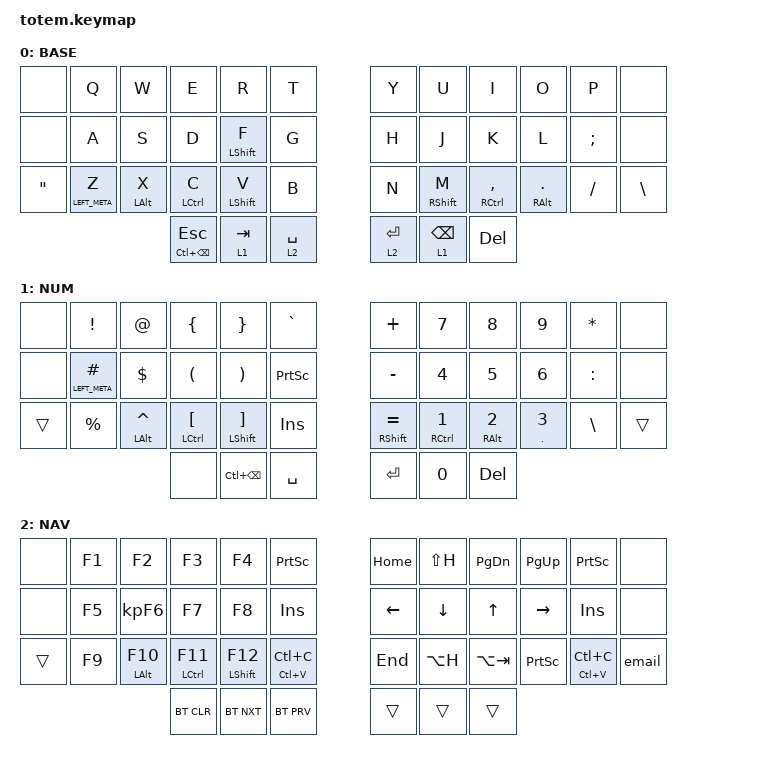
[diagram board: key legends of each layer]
//
//                                                        ▀▀▀▀▀     ▀▀▀▀▀          ▀▀█▀▀
//                                                        ▄▀▀▀▄  ▄  ▄▀▀▀▄  ▄  ▄▀▀▀▄  █  ▄▀▀▀▄
//                                                        █   █  █  █   █  █  █   █  █  █   █
//                                                         ▀▀▀   █   ▀▀▀   █   ▀▀▀   ▀   ▀▀▀
//                                                               █      ▄▄▄█▄▄▄    █   █  
//                                                               ▀      █  █  █     █▄█
//                                                             ▀▀▀▀▀    █  █  █      ▀
//                                                                      ▀  ▀  ▀
//
// ▄▄▄▄▄▄▄▄▄▄▄▄▄▄▄▄▄▄▄▄▄▄▄▄▄▄▄▄▄▄▄▄▄▄▄▄▄▄▄▄▄▄▄▄▄▄▄▄▄▄▄▄▄▄▄▄▄▄▄▄▄▄▄▄▄▄▄▄▄▄▄▄▄▄▄▄▄▄▄▄▄▄▄▄▄▄▄▄▄▄▄▄▄▄▄▄▄▄▄▄▄▄▄▄▄▄▄▄▄▄▄▄▄▄▄▄▄▄▄▄▄▄▄▄▄▄▄▄▄▄▄▄▄▄▄▄▄▄▄▄▄▄▄▄▄▄▄▄▄
       

#include <behaviors.dtsi>
#include <dt-bindings/zmk/keys.h>
#include <dt-bindings/zmk/bt.h>
#include <dt-bindings/zmk/outputs.h>

#define BASE 0
#define NAV  1
#define SYM  2
#define ADJ  3
#define TVP1 4
#define TVP2 5
#define SYM1 6
#define EXT  7
#define FNC  8
#define SETTINGS  9

&mt {
  quick-tap-ms = <100>;
  global-quick-tap;
  flavor = "tap-preferred";
  tapping-term-ms = <170>;
};

&sk {
    ignore-modifiers;
};

/ {
    behaviors {
            hm: homerow_mods {
                compatible = "zmk,behavior-hold-tap";
                label = "HOMEROW_MODS";
                bindings = <&kp>, <&kp>;

                #binding-cells = <2>;
                tapping-term-ms = <200>;
                flavor = "tap-preferred";
                require-prior-idle-ms = <125>;
                quick-tap-ms = <200>;
            };

            shifthr: shifthr {
                compatible = "zmk,behavior-hold-tap";
                label = "SHIFTHR";
                bindings = <&kp>, <&kp>;

                #binding-cells = <2>;
                tapping-term-ms = <185>;
                flavor = "tap-preferred";
                quick-tap-ms = <185>;
            };

            weak: weak {
                compatible = "zmk,behavior-hold-tap";
                label = "WEAK";
                bindings = <&kp>, <&kp>;

                #binding-cells = <2>;
                tapping-term-ms = <230>;
                flavor = "tap-preferred";
                require-prior-idle-ms = <125>;
                quick-tap-ms = <230>;
            };

            backspace: backspace {
                compatible = "zmk,behavior-tap-dance";
                label = "BACKSPACE";
                #binding-cells = <0>;
                bindings = <&kp BACKSPACE>, <&kp LC(BACKSPACE)>;
            };
        };
        
     combos {
            compatible = "zmk,combos";
            combo_esc {
                timeout-ms = <50>;
                key-positions = <0 1>;
                bindings = <&kp ESC>;
            };
            combo_lpar {
                timeout-ms = <50>;
                key-positions = <2 3>;
                bindings = <&kp LPAR>;
            };           
            combo_rpar {
                timeout-ms = <50>;
                key-positions = <3 4>;
                bindings = <&kp RPAR>;
            };           
            combo_lbkt {
                timeout-ms = <50>;
                key-positions = <12 13>;
                bindings = <&kp LBKT>;
            };
            combo_rbkt {
                timeout-ms = <50>;
                key-positions = <13 14>;
                bindings = <&kp RBKT>;
            };
            combo_lbrc {
                timeout-ms = <50>;
                key-positions = <22 23>;
                bindings = <&kp LBRC>;
            };
            combo_rbrc {
                timeout-ms = <50>;
                key-positions = <23 24>;
                bindings = <&kp RBRC>;
            };
            combo_bspc {
		        timeout-ms = <50>;
		        key-positions = <8 9>;
		        bindings = <&kp BSPC>;
	        };
        };

    macros {
        save: save {
            compatible = "zmk,behavior-macro";
            #binding-cells = <0>;
            bindings = <&macro_tap>, <&kp ESCAPE &kp COLON &kp W &kp ENTER>;

            label = "SAVE";
        };

        email: email {
            compatible = "zmk,behavior-macro";
            #binding-cells = <0>;
            bindings = <&none &kp z &kp h &kp a &kp n &kp g &kp z &kp q &kp 7 &kp 1 &kp AT &kp h &kp o &kp t &kp m &kp a &kp i &kp l &kp DOT &kp C &kp O &kp M>;
            label = "EMAIL";
        };

        gif: gif {
            label = "giphy";
            compatible = "zmk,behavior-macro";
            #binding-cells = <0>;
            bindings
                = <&macro_press &kp LSHFT>
                , <&macro_tap &kp N2>
                , <&macro_release &kp LSHFT>
                , <&macro_tap &kp G &kp I &kp F>
                ;
        };
    };

        keymap {
                compatible = "zmk,keymap";

                base_layer {
                    label= "BASE";
                    bindings = <
&none   &kp Q              &kp W             &kp E                     &kp R                  &kp T        &kp Y        &kp U              &kp I                &kp O               &kp P                &none
&none   &kp A              &kp S             &kp D                     &shifthr LEFT_SHIFT F  &kp G        &kp H        &kp J              &kp K                &kp L               &kp SEMICOLON        &none
&kp DQT &weak LEFT_META Z  &weak LEFT_ALT X  &shifthr LEFT_CONTROL C   &mt LSHFT V            &kp B        &kp N        &shifthr RSHIFT M  &shifthr RCTRL COMMA &weak RIGHT_ALT DOT &kp FSLH             &kp BSLH
                                            &hm LC(BACKSPACE) ESCAPE  &lt 1 TAB              &lt 2 SPACE  &lt 2 ENTER  &lt 1 BACKSPACE    &kp DEL
                        >;
                };

                num_layer {
                    label= "NUM";
                    bindings = <
&none  &kp EXCL            &kp AT               &kp LEFT_BRACE              &kp RIGHT_BRACE                   &kp GRAVE    &kp PLUS         &kp NUMBER_7        &kp N8             &kp N9                    &kp ASTERISK   &none
&none  &hm LEFT_META HASH  &kp DOLLAR           &kp LEFT_PARENTHESIS        &kp RIGHT_PARENTHESIS             &kp PSCRN    &kp MINUS        &kp NUMBER_4        &kp NUMBER_5       &kp NUMBER_6              &kp COLON      &none
&trans &kp PERCENT         &hm LEFT_ALT CARET   &hm LCTRL LEFT_BRACKET      &hm LEFT_SHIFT RIGHT_BRACKET      &kp INS      &hm RSHFT EQUAL  &hm RCTRL NUMBER_1  &hm RALT NUMBER_2  &shifthr PERIOD NUMBER_3  &kp BACKSLASH  &trans
                                                &none                       &kp LC(BACKSPACE)                 &kp SPACE    &kp RET    &kp N0     &kp DEL
                        >;
                };

                nav_layer {
                    label= "NAV";
                        bindings = <
&none  &kp F1            &kp F2           &kp F3        &kp F4        &kp PSCRN           &kp HOME           &kp LS(H)       &kp PAGE_DOWN  &kp PG_UP     &kp PSCRN        &none  
&none  &kp F5            &kpF6            &kp F7        &kp F8        &kp INS             &kp LEFT_ARROW     &kp DOWN        &kp UP_ARROW   &kp RIGHT     &kp INS          &none
&trans &kp F9            &hm LALT F10     &hm LCTRL F11 &hm LSHFT F12 &hm LC(V) LC(C)     &kp END            &kp LA(H)       &kp LA(TAB)    &kp PSCRN     &hm LC(V) LC(C)  &email
                                           &bt BT_CLR   &bt BT_NXT    &bt BT_PRV          &trans             &trans         &trans
                        >;
                };
        };
};
